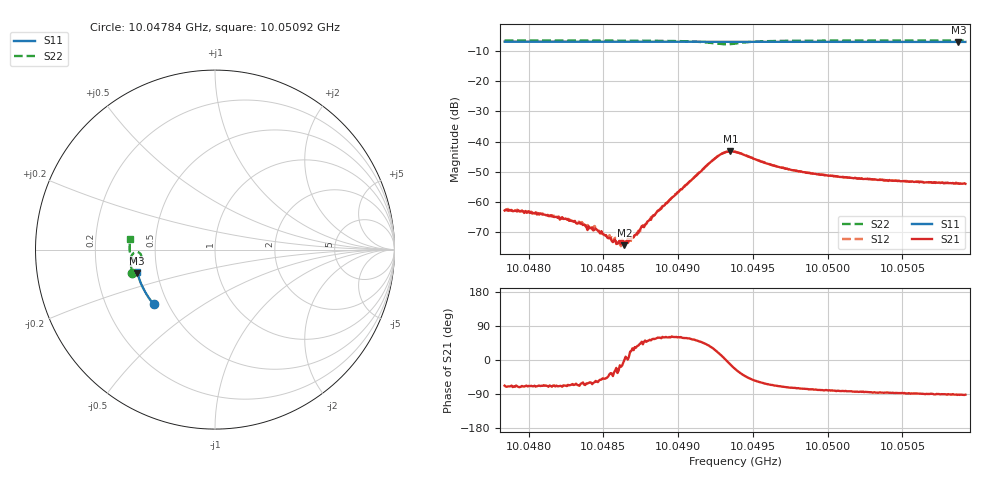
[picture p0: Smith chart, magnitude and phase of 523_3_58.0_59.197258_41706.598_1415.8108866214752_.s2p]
#  HZ  S  RI  R  50.00
! Rohde & Schwarz Vector Network Analyzer
! Rohde-Schwarz,ZNB20-2Port,1311601062101988,3.16
! Created: UTC 3/21/2024, 1:13:47 AM
! freq[Hz]  re:S11  im:S11  re:S21  im:S21  re:S12  im:S12  re:S22  im:S22
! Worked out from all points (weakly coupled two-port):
!   401 points, 10.04784 GHz to 10.05092 GHz, reference 50 ohm
!   highest |S21| = -43.24 dB at 10.04935 GHz (marker M1); lowest = -74.5 dB at 10.04864 GHz (marker M2)
!   lowest |S11| = -6.9 dB at 10.05087 GHz (marker M3), VSWR 2.65, Z = 19.2 - j6.28 ohm
!   |S11| at or under -10 dB: nowhere
!   |S22| runs from -7.7 to -6.4 dB; largest |S21 - S12| = 0.00047
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1.0047839e10  -0.3411 -0.3047  0.000272 -0.000662  0.0003 -0.000687  -0.4605 -0.129
1.0048086e10  -0.3514 -0.292  0.000234 -0.000581  0.000251 -0.000578  -0.4643 -0.1123
1.0048232e10  -0.3573 -0.2844  0.000203 -0.000476  0.00025 -0.000461  -0.4662 -0.1019
1.0048355e10  -0.3622 -0.2779  0.000204 -0.000374  0.000216 -0.000407  -0.4678 -0.093
1.0048394e10  -0.3637 -0.2758  0.000159 -0.000299  0.000224 -0.000344  -0.4681 -0.0901
1.0048448e10  -0.3658 -0.2729  0.000205 -0.000295  0.000209 -0.000304  -0.4684 -0.0862
1.0048486e10  -0.3671 -0.2708  0.0002 -0.000256  0.00021 -0.000214  -0.4689 -0.0832
1.0048579e10  -0.3705 -0.2658  0.000205 -0.000108  0.000232 -9.75e-05  -0.4696 -0.076
1.0048602e10  -0.3714 -0.2645  0.000187 -9.81e-05  0.000203 -5.28e-05  -0.4696 -0.0741
1.004864e10  -0.3728 -0.2623  0.000189 5.18e-07  0.000211 3.57e-05  -0.4696 -0.0708
1.0048656e10  -0.3732 -0.2615  0.00022 1.64e-05  0.000222 1.58e-05  -0.4698 -0.0696
1.0048687e10  -0.3745 -0.2598  0.000222 9.7e-05  0.000211 0.000126  -0.4699 -0.0671
1.0048871e10  -0.3812 -0.2496  0.000375 0.000619  0.000347 0.00063  -0.4687 -0.0502
1.0049234e10  -0.3926 -0.2288  0.00423 0.00252  0.00411 0.00281  -0.4304 -0.014
1.0049295e10  -0.3942 -0.2254  0.00624 0.00104  0.00621 0.00145  -0.4135 -0.027
1.0049349e10  -0.3958 -0.2223  0.00674 -0.00142  0.0068 -0.000991  -0.4128 -0.0477
1.004938e10  -0.3967 -0.2207  0.00618 -0.00269  0.00637 -0.00226  -0.4197 -0.0574
1.004965e10  -0.4052 -0.2051  0.0015 -0.00361  0.00175 -0.00355  -0.4668 -0.0423
1.0049896e10  -0.4119 -0.1904  0.000646 -0.00286  0.00082 -0.00286  -0.4738 -0.0178
1.0050412e10  -0.4241 -0.1589  0.000137 -0.00229  0.000258 -0.00225  -0.4754 0.0225
1.0050875e10  -0.4331 -0.13  -3.63e-05 -0.002  4.06e-05 -0.00203  -0.4727 0.055
1.0050921e10  -0.4341 -0.1272  -5.81e-05 -0.00199  7.89e-05 -0.00203  -0.4723 0.0582
